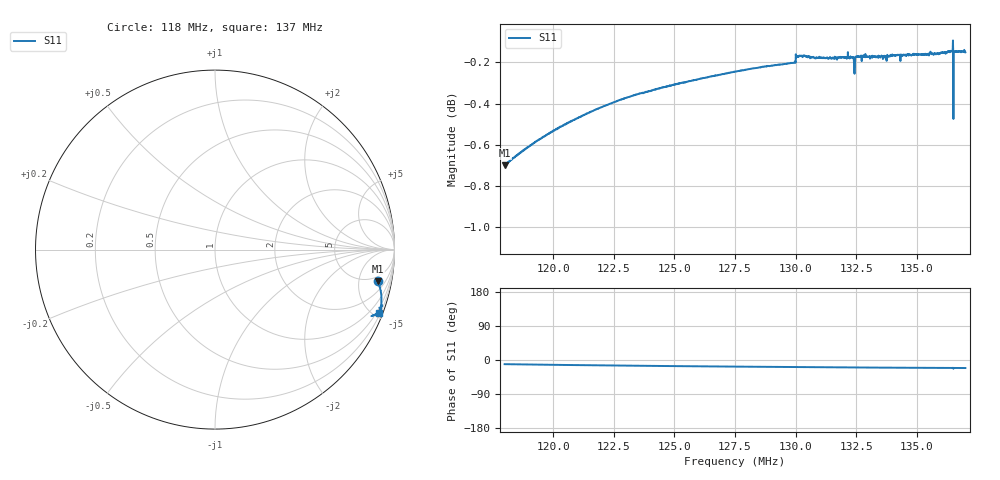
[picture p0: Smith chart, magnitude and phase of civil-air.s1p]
! Calibrated averaged scanner-service zoom
# Hz S RI R 50
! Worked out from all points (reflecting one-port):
!   2001 points, 118 MHz to 137 MHz, reference 50 ohm
!   lowest |S11| = -0.7 dB at 118 MHz (marker M1), VSWR 24.82, Z = 187 - j441 ohm
!   phase of S11 starts at -11 deg and turns -10 deg over the sweep
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1.18e8  0.9056 -0.1759
1.180095e8  0.9056 -0.176
1.192255e8  0.9136 -0.1956
1.20375e8  0.9189 -0.2123
1.21705e8  0.9232 -0.2301
1.2275e8  0.9256 -0.243
1.23605e8  0.9264 -0.2534
1.25125e8  0.9271 -0.2691
1.265785e8  0.9275 -0.2831
1.275e8  0.9276 -0.291
1.29875e8  0.926 -0.3111
1.299035e8  0.9261 -0.3113
1.30103e8  0.9299 -0.3113
1.301505e8  0.9298 -0.3117
1.313e8  0.9256 -0.3219
1.3225e8  0.9235 -0.3286
1.32383e8  0.923 -0.3293
1.325065e8  0.923 -0.3303
1.32554e8  0.9228 -0.3304
1.33656e8  0.9208 -0.3379
1.33979e8  0.9205 -0.3397
1.34625e8  0.9197 -0.3435
1.3586e8  0.9177 -0.3493
1.364015e8  0.9183 -0.3516
1.36411e8  0.9182 -0.3517
1.36601e8  0.9178 -0.3526
1.366105e8  0.9178 -0.3524
1.37e8  0.9164 -0.355
